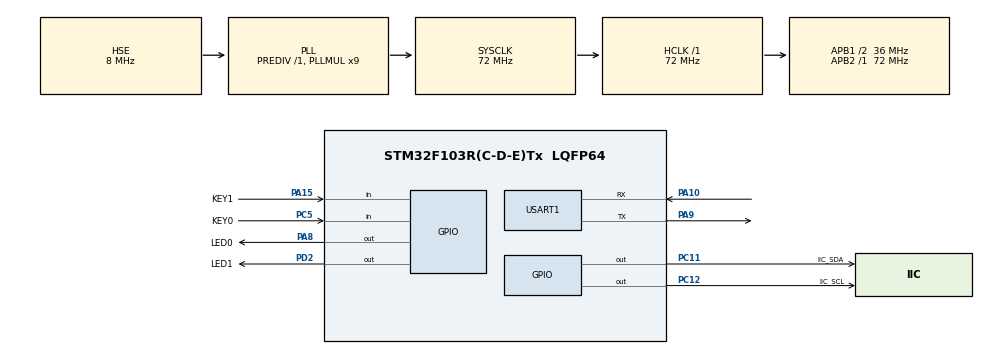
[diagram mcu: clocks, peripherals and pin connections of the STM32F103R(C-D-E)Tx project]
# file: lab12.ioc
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Mcu.Family=STM32F1
Mcu.Name=STM32F103R(C-D-E)Tx
Mcu.Package=LQFP64
NVIC.PriorityGroup=NVIC_PRIORITYGROUP_2
NVIC.USART1_IRQn=true\:1\:0\:true\:false\:true\:true\:true\:true
PA10.Mode=Asynchronous
PA10.Signal=USART1_RX
PA13.Mode=Serial_Wire
PA13.Signal=SYS_JTMS-SWDIO
PA14.Mode=Serial_Wire
PA14.Signal=SYS_JTCK-SWCLK
PA15.GPIO_Label=KEY1
PA15.GPIO_PuPd=GPIO_PULLUP
PA15.Signal=GPIO_Input
PA8.GPIO_Label=LED0
PA8.PinState=GPIO_PIN_SET
PA8.Signal=GPIO_Output
PA9.Mode=Asynchronous
PA9.Signal=USART1_TX
PC11.GPIO_Label=IIC_SDA
PC11.GPIO_ModeDefaultOutputPP=GPIO_MODE_OUTPUT_OD
PC11.GPIO_PuPd=GPIO_NOPULL
PC11.Signal=GPIO_Output
PC12.GPIO_Label=IIC_SCL
PC12.Signal=GPIO_Output
PC5.GPIO_Label=KEY0
PC5.GPIO_PuPd=GPIO_PULLUP
PC5.Signal=GPIO_Input
PD0-OSC_IN.Mode=HSE-External-Oscillator
PD0-OSC_IN.Signal=RCC_OSC_IN
PD1-OSC_OUT.Mode=HSE-External-Oscillator
PD1-OSC_OUT.Signal=RCC_OSC_OUT
PD2.GPIO_Label=LED1
PD2.PinState=GPIO_PIN_SET
PD2.Signal=GPIO_Output
ProjectManager.HeapSize=0x200
ProjectManager.StackSize=0x400
ProjectManager.TargetToolchain=STM32CubeIDE
RCC.AHBFreq_Value=72000000
RCC.APB1CLKDivider=RCC_HCLK_DIV2
RCC.APB1Freq_Value=36000000
RCC.APB1TimFreq_Value=72000000
RCC.APB2Freq_Value=72000000
RCC.APB2TimFreq_Value=72000000
RCC.HCLKFreq_Value=72000000
RCC.PLLMUL=RCC_PLL_MUL9
RCC.PLLSourceVirtual=RCC_PLLSOURCE_HSE
RCC.SYSCLKFreq_VALUE=72000000
RCC.SYSCLKSource=RCC_SYSCLKSOURCE_PLLCLK
RCC.USBFreq_Value=72000000
USART1.VirtualMode=VM_ASYNC
board=custom

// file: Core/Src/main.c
/* USER CODE BEGIN Header */
/**
  ******************************************************************************
  * @file           : main.c
  * @brief          : Main program body
  ******************************************************************************
  * @attention
  *
  * <h2><center>&copy; Copyright (c) 2023 STMicroelectronics.
  * All rights reserved.</center></h2>
  *
  * This software component is licensed by ST under BSD 3-Clause license,
  * the "License"; You may not use this file except in compliance with the
  * License. You may obtain a copy of the License at:
  *                        opensource.org/licenses/BSD-3-Clause
  *
  ******************************************************************************
  */
/* USER CODE END Header */
#include "main.h"
#include "usart.h"
#include "gpio.h"

/* USER CODE BEGIN Includes */
#include "lcd.h"
#include "myiic.h"
#include "24cxx.h"
/* USER CODE END Includes */

void SystemClock_Config(void);

/* USER CODE BEGIN 0 */
extern UART_HandleTypeDef huart1;
extern uint8_t rxBuffer[20];
extern uint8_t data[30];

//要写入到24c02的字符串数组
  const uint8_t TEXT_Buffer[]={"CS301 IIC TEST DEMO"};
//    uint8_t TEXT_Buffer[]={"CS301 IIC TEST DEMO"};
//  #define SIZE sizeof(TEXT_Buffer)
	#define SIZE 30

/* USER CODE END 0 */

int main(void)
{

  /* MCU Configuration--------------------------------------------------------*/

  /* Reset of all peripherals, Initializes the Flash interface and the Systick. */
  HAL_Init();

  /* Configure the system clock */
  SystemClock_Config();

  /* Initialize all configured peripherals */
  MX_GPIO_Init();
  MX_USART1_UART_Init();
  /* USER CODE BEGIN 2 */
  HAL_UART_Receive_IT(&huart1,(uint8_t*)rxBuffer,1);

  uint16_t i=0;
  uint8_t datatemp[SIZE];
  LCD_Init();
  AT24CXX_Init();			//IIC初始�??

   	POINT_COLOR=RED;//设置字体为红�???
  	LCD_ShowString(40,50,200,16,16,"CS301");
  	LCD_ShowString(40,70,200,16,16,"IIC TEST");
  	LCD_ShowString(40,90,200,16,16,"KEY1:Write  KEY0:Read");	//显示提示信息
  /* USER CODE END 2 */

  /* Infinite loop */
  /* USER CODE BEGIN WHILE */
  	while(AT24CXX_Check())
  	{
  		LCD_ShowString(40,120,200,16,16,"24C02 Check Failed!");
  		HAL_Delay(500);
  		LCD_ShowString(40,120,200,16,16,"Please Check!      ");
  		HAL_Delay(500);
  		HAL_GPIO_TogglePin(LED0_GPIO_Port, LED0_Pin);//LED0闪烁
  	}

  	LCD_ShowString(40,120,200,16,16,"24C02 Ready!");
  	POINT_COLOR=BLUE;//设置字体为蓝�??

  while (1)
  {
    /* USER CODE END WHILE */

    /* USER CODE BEGIN 3 */
//	  LCD_ShowString(40,240,200,16,16,data);

	  		if(HAL_GPIO_ReadPin(KEY1_GPIO_Port, KEY1_Pin) == GPIO_PIN_RESET)//KEY1按下,写入24C02
	  		{
	  			LCD_Fill(0,170,239,319,WHITE);//清除半屏
	   			LCD_ShowString(40,170,200,16,16,"Start Writing 24C02....");
//	  			AT24CXX_Write(0,(uint8_t*)TEXT_Buffer,SIZE);
	   			AT24CXX_Write(0,(uint8_t*)data,SIZE);
	  			LCD_Fill(0,170,239,319,WHITE);
	  			LCD_ShowString(40,170,200,16,16,"24C02 Write Finished!");//提示传�?�完�???
	  		}
	  		if(HAL_GPIO_ReadPin(KEY0_GPIO_Port, KEY0_Pin) == GPIO_PIN_RESET)//KEY0按下,读取字符串并显示
	  		{
	  			LCD_Fill(0,170,239,319,WHITE);
	  			LCD_ShowString(40,170,200,16,16,"Start Reading 24C02.... ");
	  			AT24CXX_Read(0,datatemp,SIZE);
	  			LCD_Fill(0,170,239,319,WHITE);
	  			LCD_ShowString(40,170,200,16,16,"The Data Read Is:  ");//提示传�?�完�???
	  			LCD_ShowString(40,190,200,16,16,datatemp);//显示读到的字符串
	  			HAL_UART_Transmit(&huart1, "The read Data is\n", 17, 0xffff);
	  			HAL_UART_Transmit(&huart1, datatemp, 30, 0xffff);
	  		}
	  		i++;
	  		HAL_Delay(10);
	  		if(i==20)
	  		{
	  			HAL_GPIO_TogglePin(LED0_GPIO_Port, LED0_Pin);//提示系统正在运行
	  			i=0;
	  		}
  }
  /* USER CODE END 3 */
}

void SystemClock_Config(void)
{
  RCC_OscInitTypeDef RCC_OscInitStruct = {0};
  RCC_ClkInitTypeDef RCC_ClkInitStruct = {0};

  /** Initializes the RCC Oscillators according to the specified parameters
  * in the RCC_OscInitTypeDef structure.
  */
  RCC_OscInitStruct.OscillatorType = RCC_OSCILLATORTYPE_HSE;
  RCC_OscInitStruct.HSEState = RCC_HSE_ON;
  RCC_OscInitStruct.HSEPredivValue = RCC_HSE_PREDIV_DIV1;
  RCC_OscInitStruct.HSIState = RCC_HSI_ON;
  RCC_OscInitStruct.PLL.PLLState = RCC_PLL_ON;
  RCC_OscInitStruct.PLL.PLLSource = RCC_PLLSOURCE_HSE;
  RCC_OscInitStruct.PLL.PLLMUL = RCC_PLL_MUL9;
  if (HAL_RCC_OscConfig(&RCC_OscInitStruct) != HAL_OK)
  {
    Error_Handler();
  }

  /** Initializes the CPU, AHB and APB buses clocks
  */
  RCC_ClkInitStruct.ClockType = RCC_CLOCKTYPE_HCLK|RCC_CLOCKTYPE_SYSCLK
                              |RCC_CLOCKTYPE_PCLK1|RCC_CLOCKTYPE_PCLK2;
  RCC_ClkInitStruct.SYSCLKSource = RCC_SYSCLKSOURCE_PLLCLK;
  RCC_ClkInitStruct.AHBCLKDivider = RCC_SYSCLK_DIV1;
  RCC_ClkInitStruct.APB1CLKDivider = RCC_HCLK_DIV2;
  RCC_ClkInitStruct.APB2CLKDivider = RCC_HCLK_DIV1;

  if (HAL_RCC_ClockConfig(&RCC_ClkInitStruct, FLASH_LATENCY_2) != HAL_OK)
  {
    Error_Handler();
  }
}

void Error_Handler(void)
{
  __disable_irq();
  while (1)
  {
  }
}
